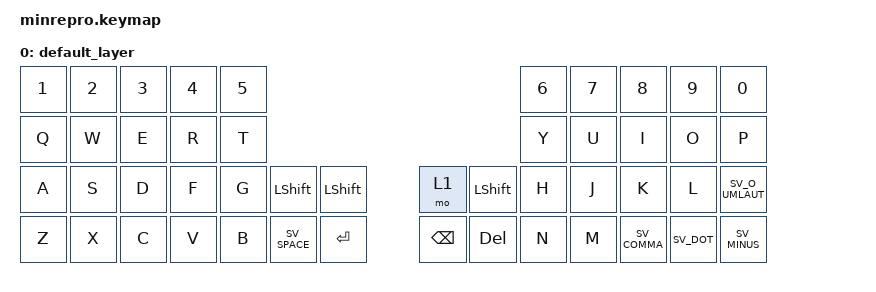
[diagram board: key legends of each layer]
#include <behaviors.dtsi>
#include <dt-bindings/zmk/bt.h>
#include <dt-bindings/zmk/keys.h>
#include "keys_sv.h"

/ {
    keymap {
        compatible = "zmk,keymap";

        default_layer {
            bindings = <
                  &kp N1  &kp N2  &kp N3  &kp N4  &kp N5                                                                &kp N6   &kp N7    &kp N8        &kp N9      &kp N0
                  &kp Q   &kp W   &kp E   &kp R   &kp T                                                                 &kp Y    &kp U     &kp I         &kp O       &kp P
                  &kp A   &kp S   &kp D   &kp F   &kp G   &kp LSHFT     &kp LSHFT              &mo 1          &kp LSHFT &kp H    &kp J     &kp K         &kp L       &kp SV_O_UMLAUT
                  &kp Z   &kp X   &kp C   &kp V   &kp B   &kp SV_SPACE  &kp ENTER              &kp BACKSPACE  &kp DEL   &kp N    &kp M     &kp SV_COMMA  &kp SV_DOT  &kp SV_MINUS  
            >;
        };
    };
};
